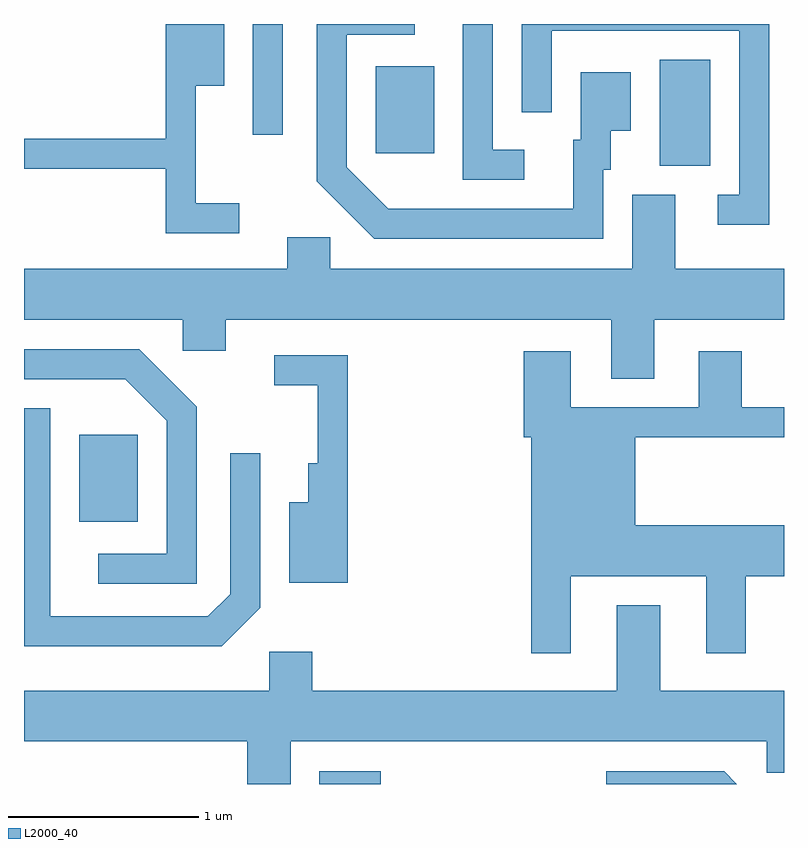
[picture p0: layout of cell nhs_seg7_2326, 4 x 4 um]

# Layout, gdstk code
import gdstk
lib = gdstk.Library(unit=1e-6, precision=1e-09)
def R(c, l, rs):  # rectangles x0, y0, x1, y1
    for r in rs: c.add(gdstk.rectangle(r[:2], r[2:], *l))
def P(c, l, *ps):  # polygons
    for p in ps: c.add(gdstk.Polygon(p, *l))
L2000_40 = (2000, 40)

nhs_seg7_2326 = lib.new_cell('nhs_seg7_2326')
R(nhs_seg7_2326, L2000_40, [(257.166,1776.252,257.488,1776.319), (255.901,1777.631,256.209,1778.089), (258.956,1779.506,259.224,1780.064), (257.461,1779.571,257.769,1780.029), (256.816,1779.668,256.974,1780.252)])
P(nhs_seg7_2326, L2000_40, [(256.743,1779.309),(256.514,1779.309),(256.514,1779.926),(256.664,1779.926),(256.664,1780.252),(256.356,1780.252),(256.356,1779.649),(255.611,1779.649),(255.611,1779.491),(256.356,1779.491),(256.356,1779.151),(256.743,1779.151)],
  [(258.659,1779.486),(258.699,1779.486),(258.699,1779.691),(258.804,1779.691),(258.804,1779.999),(258.541,1779.999),(258.541,1779.644),(258.501,1779.644),(258.501,1779.279),(257.527,1779.279),(257.309,1779.497),(257.309,1780.196),(257.668,1780.196),(257.668,1780.252),(257.151,1780.252),(257.151,1779.424),(257.454,1779.121),(258.659,1779.121)],
  [(259.534,1780.252),(258.231,1780.252),(258.231,1779.788),(258.389,1779.788),(258.389,1780.216),(259.376,1780.216),(259.376,1779.354),(259.263,1779.354),(259.263,1779.196),(259.534,1779.196)],
  [(258.243,1779.589),(258.079,1779.589),(258.079,1780.252),(257.921,1780.252),(257.921,1779.431),(258.243,1779.431)],
  [(258.929,1778.696),(259.611,1778.696),(259.611,1778.964),(259.039,1778.964),(259.039,1779.354),(258.811,1779.354),(258.811,1778.964),(257.224,1778.964),(257.224,1779.129),(256.996,1779.129),(256.996,1778.964),(255.611,1778.964),(255.611,1778.696),(256.446,1778.696),(256.446,1778.531),(256.674,1778.531),(256.674,1778.696),(258.701,1778.696),(258.701,1778.386),(258.929,1778.386)],
  [(256.519,1778.237),(256.217,1778.539),(255.611,1778.539),(255.611,1778.381),(256.144,1778.381),(256.361,1778.164),(256.361,1777.464),(256.003,1777.464),(256.003,1777.306),(256.519,1777.306)],
  [(258.489,1777.346),(259.201,1777.346),(259.201,1776.941),(259.409,1776.941),(259.409,1777.346),(259.611,1777.346),(259.611,1777.614),(258.829,1777.614),(258.829,1778.076),(259.611,1778.076),(259.611,1778.234),(259.389,1778.234),(259.389,1778.529),(259.161,1778.529),(259.161,1778.234),(258.489,1778.234),(258.489,1778.529),(258.241,1778.529),(258.241,1778.076),(258.281,1778.076),(258.281,1776.941),(258.489,1776.941)],
  [(257.314,1778.509),(256.928,1778.509),(256.928,1778.351),(257.156,1778.351),(257.156,1777.939),(257.106,1777.939),(257.106,1777.734),(257.006,1777.734),(257.006,1777.311),(257.314,1777.311)],
  [(256.854,1777.179),(256.854,1777.993),(256.696,1777.993),(256.696,1777.252),(256.579,1777.134),(255.749,1777.134),(255.749,1778.229),(255.611,1778.229),(255.611,1776.976),(256.652,1776.976)],
  [(257.014,1776.476),(259.521,1776.476),(259.521,1776.311),(259.611,1776.311),(259.611,1776.744),(258.959,1776.744),(258.959,1777.194),(258.731,1777.194),(258.731,1776.744),(257.129,1776.744),(257.129,1776.949),(256.901,1776.949),(256.901,1776.744),(255.611,1776.744),(255.611,1776.476),(256.786,1776.476),(256.786,1776.252),(257.014,1776.252)],
  [(259.296,1776.319),(258.676,1776.319),(258.676,1776.252),(259.363,1776.252)])

lib.write_gds('nhs_seg7_2326.gds')
